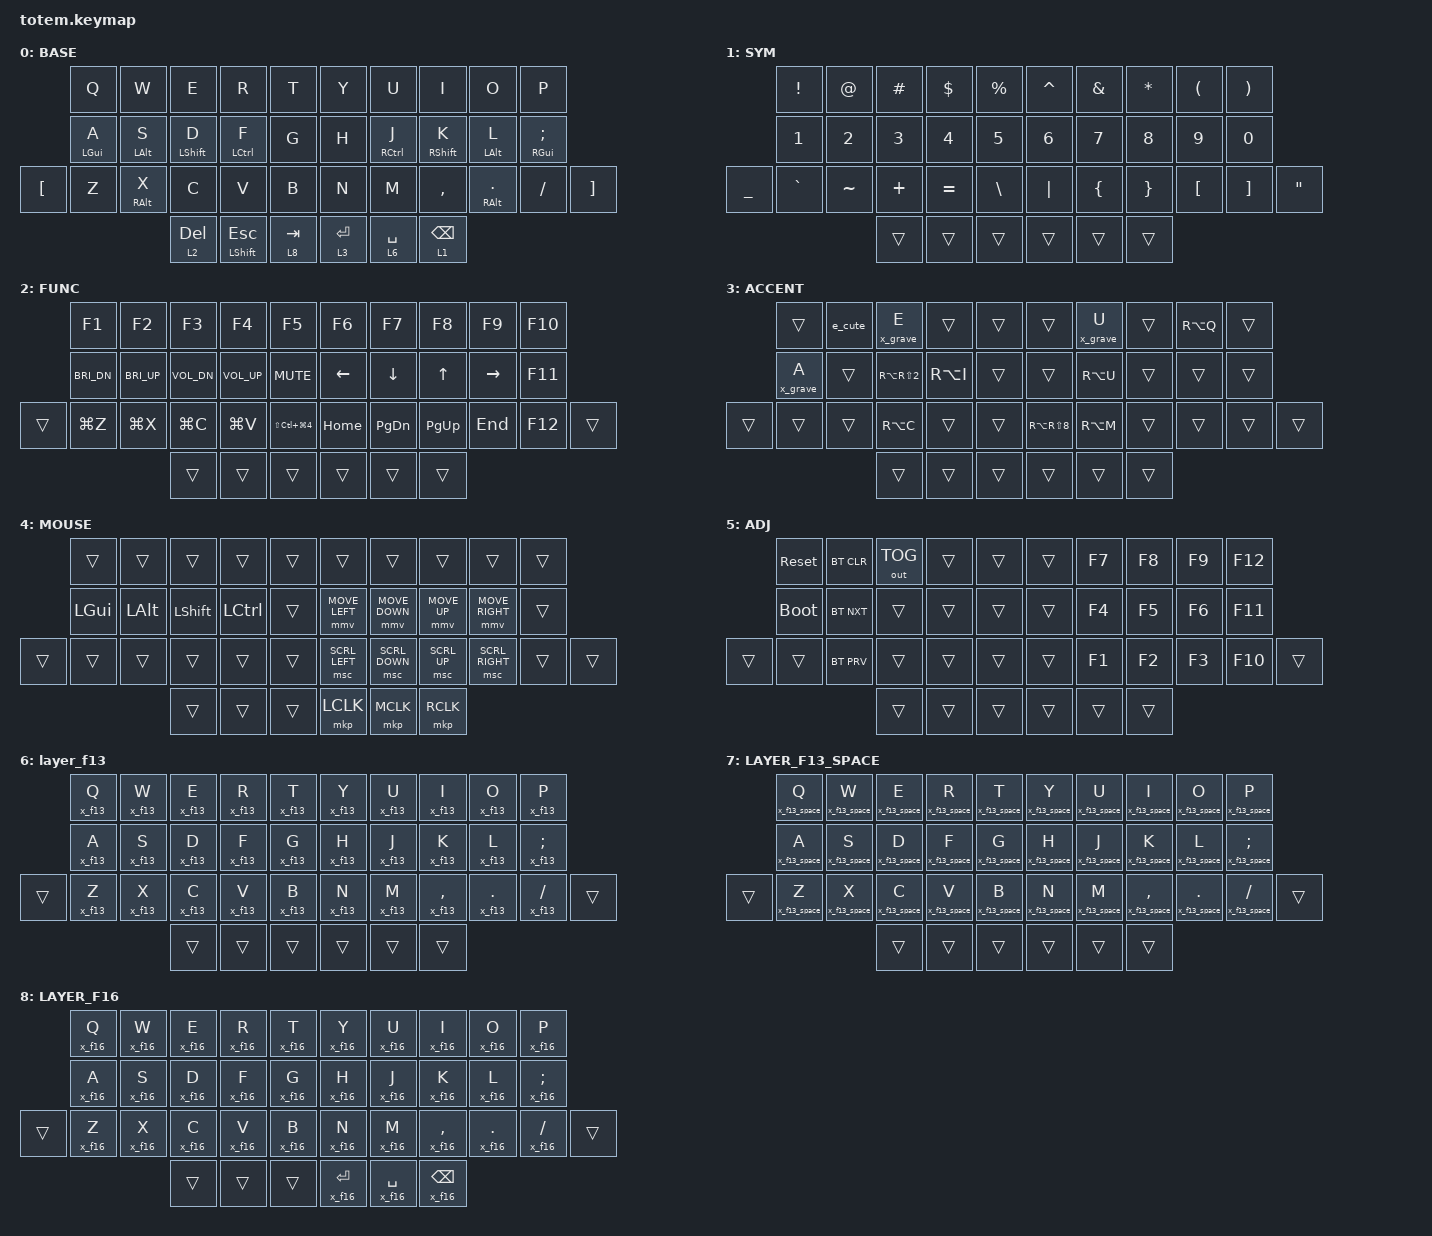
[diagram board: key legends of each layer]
//
//                                                        ▀▀▀▀▀     ▀▀▀▀▀          ▀▀█▀▀
//                                                        ▄▀▀▀▄  ▄  ▄▀▀▀▄  ▄  ▄▀▀▀▄  █  ▄▀▀▀▄
//                                                        █   █  █  █   █  █  █   █  █  █   █
//                                                         ▀▀▀   █   ▀▀▀   █   ▀▀▀   ▀   ▀▀▀
//                                                               █      ▄▄▄█▄▄▄    █   █  
//                                                               ▀      █  █  █     █▄█
//                                                             ▀▀▀▀▀    █  █  █      ▀
//                                                                      ▀  ▀  ▀
//
// ▄▄▄▄▄▄▄▄▄▄▄▄▄▄▄▄▄▄▄▄▄▄▄▄▄▄▄▄▄▄▄▄▄▄▄▄▄▄▄▄▄▄▄▄▄▄▄▄▄▄▄▄▄▄▄▄▄▄▄▄▄▄▄▄▄▄▄▄▄▄▄▄▄▄▄▄▄▄▄▄▄▄▄▄▄▄▄▄▄▄▄▄▄▄▄▄▄▄▄▄▄▄▄▄▄▄▄▄▄▄▄▄▄▄▄▄▄▄▄▄▄▄▄▄▄▄▄▄▄▄▄▄▄▄▄▄▄▄▄▄▄▄▄▄▄▄▄▄▄

#define ZMK_POINTING_DEFAULT_MOVE_VAL 1500  // default: 600
#define ZMK_POINTING_DEFAULT_SCRL_VAL 20    // default: 10

#include <behaviors.dtsi>
#include <dt-bindings/zmk/bt.h>
#include <dt-bindings/zmk/keys.h>
#include <dt-bindings/zmk/outputs.h>
#include <dt-bindings/zmk/pointing.h>

#define BASE    0
#define SYM     1
#define FUNC    2
#define ACCENT  3
#define MOUSE   4
#define ADJ     5

&mt {
    quick-tap-ms = <100>;
    global-quick-tap;
    flavor = "tap-preferred";
    tapping-term-ms = <250>;
};

/ {
    combos {
        compatible = "zmk,combos";

        combo_hyper_space {
            bindings = <&mo 7>;
            key-positions = <36 33>;
            timeout-ms = <100>;
        };

        combo_eqeq {
            bindings = <&eqeq>;
            key-positions = <23 24>;
        };

        combo_not_eq {
            bindings = <&not_eq>;
            key-positions = <27 28>;
        };

        combo_eqeqeq {
            bindings = <&eqeqeq>;
            key-positions = <22 23 24>;
            timeout-ms = <100>;
        };

        combo_sup_eq {
            bindings = <&sup_eq>;
            key-positions = <28 29>;
            timeout-ms = <100>;
        };

        combo_inf_eq {
            bindings = <&inf_eq>;
            key-positions = <22 23>;
            timeout-ms = <100>;
        };

        combo_not_eq_eq {
            bindings = <&not_eq_eq>;
            key-positions = <27 28 29>;
            timeout-ms = <100>;
        };

        combo_open_par {
            bindings = <&kp LPAR>;
            key-positions = <12 11 13>;
        };

        compo_close_par {
            bindings = <&kp RPAR>;
            key-positions = <17 18 16>;
        };

        combo_open_brace {
            bindings = <&kp LEFT_BRACKET>;
            key-positions = <13 12>;
        };

        combo_close_brace {
            bindings = <&kp RIGHT_BRACKET>;
            key-positions = <16 17>;
        };

        combo_open_bracket {
            bindings = <&kp LEFT_BRACE>;
            key-positions = <12 11>;
            timeout-ms = <100>;
        };

        combo_close_bracket {
            bindings = <&kp RIGHT_BRACE>;
            key-positions = <17 18>;
            timeout-ms = <100>;
        };

        combo_inf {
            bindings = <&kp LT>;
            key-positions = <13 14>;
        };

        combo_sup {
            bindings = <&kp GT>;
            key-positions = <15 16>;
        };

        combo_quote {
            bindings = <&kp SQT>;
            key-positions = <19 18>;
        };

        combo_minus {
            bindings = <&kp MINUS>;
            key-positions = <10 11>;
        };

        combo_andand {
            bindings = <&double_key AMPS>;
            key-positions = <6 7>;
        };

        combo_oror {
            bindings = <&double_key PIPE>;
            key-positions = <3 2>;
        };

        combo_pipe {
            bindings = <&kp PIPE>;
            key-positions = <27 16>;
            timeout-ms = <100>;
        };

        combo_eq_sup {
            bindings = <&eq_sup>;
            key-positions = <7 8>;
        };

        combo_func_js {
            bindings = <&funcjs>;
            key-positions = <6 7 8>;
        };

        combo_eq {
            bindings = <&kp EQUAL>;
            key-positions = <13 24>;
        };

        combo_antislash {
            bindings = <&kp BACKSLASH>;
            key-positions = <30 29>;
        };

        combo_f13 {
            bindings = <&kp F13>;
            key-positions = <13 16>;
        };
    };

    macros {
        x_grave: x_grave {
            compatible = "zmk,behavior-macro-one-param";
            #binding-cells = <1>;
            bindings =
                <&macro_press>,
                <&kp RALT>,
                <&macro_tap>,
                <&kp GRAVE>,
                <&macro_release>,
                <&kp RALT>,
                <&macro_tap>,
                <&macro_param_1to1 &kp MACRO_PLACEHOLDER>;

            label = "X_GRAVE";
        };

        double_key: double_key {
            compatible = "zmk,behavior-macro-one-param";
            #binding-cells = <1>;
            bindings =
                <&macro_tap>,
                <&macro_param_1to1 &kp MACRO_PLACEHOLDER &macro_param_1to1 &kp MACRO_PLACEHOLDER>;

            label = "DOUBLE_KEY";
        };

        e_cute: e_cute {
            compatible = "zmk,behavior-macro";
            #binding-cells = <0>;
            bindings =
                <&macro_press>,
                <&kp RALT>,
                <&macro_tap>,
                <&kp E>,
                <&macro_release>,
                <&kp RALT>,
                <&macro_tap>,
                <&kp E>;

            label = "E_CUTE";
        };

        hyper: hyper {
            compatible = "zmk,behavior-macro";
            #binding-cells = <0>;
            bindings =
                <&macro_press>,
                <&kp LSHFT &kp LALT &kp LCTRL &kp LGUI>,
                <&macro_pause_for_release>,
                <&macro_release>,
                <&kp LSHFT &kp LALT &kp LCTRL &kp LGUI>;

            label = "HYPER";
        };

        hyper_space: hyper_space {
            compatible = "zmk,behavior-macro";
            #binding-cells = <0>;
            bindings =
                <&macro_press>,
                <&kp LSHFT &kp LALT &kp LCTRL &kp LGUI>,
                <&macro_press>,
                <&kp SPACE>,
                <&macro_pause_for_release>,
                <&macro_release>,
                <&kp SPACE &kp LGUI &kp LCTRL &kp LALT &kp LSHFT>;

            label = "HYPER_SPACE";
        };

        eqeq: eqeq {
            compatible = "zmk,behavior-macro";
            #binding-cells = <0>;
            bindings = <&macro_tap>, <&kp EQUAL &kp EQUAL &kp SPACE>;

            label = "EQEQ";
        };

        eqeqeq: eqeqeq {
            compatible = "zmk,behavior-macro";
            #binding-cells = <0>;
            bindings = <&macro_tap>, <&kp EQUAL &kp EQUAL &kp EQUAL &kp SPACE>;

            label = "EQEQEQ";
        };

        eq_sup: eq_sup {
            compatible = "zmk,behavior-macro";
            #binding-cells = <0>;
            bindings = <&macro_tap>, <&kp EQUAL &kp GT &kp SPACE>;

            label = "EQ_SUP";
        };

        sup_eq: sup_eq {
            compatible = "zmk,behavior-macro";
            #binding-cells = <0>;
            bindings = <&macro_tap>, <&kp GT &kp EQUAL &kp SPACE>;

            label = "SUP_EQ";
        };

        inf_eq: inf_eq {
            compatible = "zmk,behavior-macro";
            #binding-cells = <0>;
            bindings = <&macro_tap>, <&kp LESS_THAN &kp EQUAL &kp SPACE>;

            label = "INF_EQ";
        };

        funcjs: funcjs {
            compatible = "zmk,behavior-macro";
            #binding-cells = <0>;
            bindings =
                <&macro_tap>,
                <&kp LPAR &kp RPAR &kp SPACE &kp EQUAL &kp GT &kp SPACE &kp LEFT_BRACE &kp RBRC>;

            label = "FUNCJS";
        };

        not_eq: noteq {
            compatible = "zmk,behavior-macro";
            #binding-cells = <0>;
            bindings = <&macro_tap>, <&kp EXCLAMATION &kp EQUAL &kp SPACE>;

            label = "NOTEQ";
        };

        not_eq_eq: not_eq_eq {
            compatible = "zmk,behavior-macro";
            #binding-cells = <0>;
            bindings =
                <&macro_tap>,
                <&kp EXCLAMATION &kp EQUAL &kp EQUAL &kp SPACE>;

            label = "NOT_EQ_EQ";
        };

        x_f13: x_f13 {
            compatible = "zmk,behavior-macro-one-param";
            #binding-cells = <1>;
            bindings =
                <&macro_tap>,
                <&kp F13>,
                <&macro_tap>,
                <&macro_param_1to1 &kp MACRO_PLACEHOLDER>;

            label = "X_F13";
        };

        x_f13_space: x_f13_space {
            compatible = "zmk,behavior-macro-one-param";
            #binding-cells = <1>;
            bindings =
                <&macro_tap>,
                <&kp F13 &kp HASH>,
                <&macro_tap>,
                <&macro_param_1to1 &kp MACRO_PLACEHOLDER>;

            label = "X_F13_SPACE";
        };

        x_f16: xf14 {
            compatible = "zmk,behavior-macro-one-param";
            #binding-cells = <1>;
            bindings =
                <&macro_tap>,
                <&kp F16>,
                <&macro_tap>,
                <&macro_param_1to1 &kp MACRO_PLACEHOLDER>;

            label = "XF14";
        };
    };

    keymap {
        compatible = "zmk,keymap";

        // ▄▄▄▄▄▄▄▄▄▄▄▄▄▄▄▄▄▄▄▄▄▄▄▄▄▄▄▄▄▄▄▄▄▄▄▄▄▄▄▄▄▄▄▄▄▄▄▄▄▄▄▄▄▄▄▄▄▄▄▄▄▄▄▄▄▄▄▄▄▄▄▄▄▄▄▄▄▄▄▄▄▄▄▄▄▄▄▄▄▄▄▄▄▄▄▄▄▄▄▄▄▄▄▄▄▄▄▄▄▄▄▄▄▄▄▄▄▄▄▄▄▄▄▄▄▄▄▄▄▄▄▄▄▄▄▄▄▄▄▄▄▄▄▄▄▄▄▄▄▄▄▄▄▄▄▄▄▄▄▄▄▄▄▄▄▄▄▄▄▄▄▄▄▄▄▄▄▄▄▄▄▄▄▄▄▄▄▄▄▄▄▄▄▄▄▄▄▄▄▄▄

        base_layer {
            // ┏━━━━━━━━━━━━━━━━━━━━━━━━━━━━━━━━━━━━━━━┓

            label = "BASE";

            // ┗━━━━━━━━━━━━━━━━━━━━━━━━━━━━━━━━━━━━━━━┛
            //                 ┏━━━━━━━━━━━━━━━┳━━━━━━━━━━━━━━━┳━━━━━━━━━━━━━━━┳━━━━━━━━━━━━━━━┳━━━━━━━━━━━━━━━┓   ┏━━━━━━━━━━━━━━━┳━━━━━━━━━━━━━━━┳━━━━━━━━━━━━━━━┳━━━━━━━━━━━━━━━┳━━━━━━━━━━━━━━━┓
            //                 ┃       Q       ┃       W       ┃       E       ┃       R       ┃       T       ┃   ┃       Y       ┃       U       ┃       I       ┃       O       ┃       P       ┃
            //                 ┣━━━━━━━━━━━━━━━╋━━━━━━━━━━━━━━━╋━━━━━━━━━━━━━━━╋━━━━━━━━━━━━━━━╋━━━━━━━━━━━━━━━┫   ┣━━━━━━━━━━━━━━━╋━━━━━━━━━━━━━━━╋━━━━━━━━━━━━━━━╋━━━━━━━━━━━━━━━╋━━━━━━━━━━━━━━━┫
            //                 ┃       A       ┃       S       ┃       D       ┃       F       ┃       G       ┃   ┃       H       ┃       J       ┃       K       ┃       L       ┃       ;       ┃
            // ┏━━━━━━━━━━━━━━━╋━━━━━━━━━━━━━━━╋━━━━━━━━━━━━━━━╋━━━━━━━━━━━━━━━╋━━━━━━━━━━━━━━━╋━━━━━━━━━━━━━━━┫   ┣━━━━━━━━━━━━━━━╋━━━━━━━━━━━━━━━╋━━━━━━━━━━━━━━━╋━━━━━━━━━━━━━━━╋━━━━━━━━━━━━━━━╋━━━━━━━━━━━━━━━┓
            // ┃       -       ┃       Z       ┃       X       ┃       C       ┃       V       ┃       B       ┃   ┃       K       ┃       M       ┃       ,       ┃       .       ┃       /       ┃       '       ┃
            // ┗━━━━━━━━━━━━━━━┻━━━━━━━━━━━━━━━┻━━━━━━━━━━━━━━━╋━━━━━━━━━━━━━━━╋━━━━━━━━━━━━━━━╋━━━━━━━━━━━━━━━┫   ┣━━━━━━━━━━━━━━━╋━━━━━━━━━━━━━━━╋━━━━━━━━━━━━━━━╋━━━━━━━━━━━━━━━┻━━━━━━━━━━━━━━━┻━━━━━━━━━━━━━━━┛
            //                                                 ┃      DEL      ┃      ESC      ┃      TAB      ┃   ┃     ENTER     ┃     SPACE     ┃     BSPC      ┃
            //                                                 ┗━━━━━━━━━━━━━━━┻━━━━━━━━━━━━━━━┻━━━━━━━━━━━━━━━┛   ┗━━━━━━━━━━━━━━━┻━━━━━━━━━━━━━━━┻━━━━━━━━━━━━━━━┛

            bindings = <
                  &kp Q       &kp W       &kp E        &kp R          &kp T        &kp Y        &kp U        &kp I            &kp O         &kp P
                  &mt LGUI A  &mt LALT S  &mt LSHFT D  &mt LCTRL F    &kp G        &kp H        &mt RCTRL J  &mt RSHFT K      &mt LALT L    &mt RGUI SEMI
&kp LEFT_BRACKET  &kp Z       &mt RALT X  &kp C        &kp V          &kp B        &kp N        &kp M        &kp COMMA        &mt RALT DOT  &kp FSLH       &kp RIGHT_BRACKET
                                          &lt 2 DEL    &mt LSHFT ESC  &lt 8 TAB    &lt 3 ENTER  &lt 6 SPACE  &lt 1 BACKSPACE
            >;
        };

        sym_layer {
            // ┏━━━━━━━━━━━━━━━━━━━━━━━━━━━━━━━━━━━━━━━┓

            label = "SYM";

            // ┗━━━━━━━━━━━━━━━━━━━━━━━━━━━━━━━━━━━━━━━┛
            //                 ┏━━━━━━━━━━━━━━━┳━━━━━━━━━━━━━━━┳━━━━━━━━━━━━━━━┳━━━━━━━━━━━━━━━┳━━━━━━━━━━━━━━━┓   ┏━━━━━━━━━━━━━━━┳━━━━━━━━━━━━━━━┳━━━━━━━━━━━━━━━┳━━━━━━━━━━━━━━━┳━━━━━━━━━━━━━━━┓
            //                 ┃       !       ┃       @       ┃       #       ┃       $       ┃       %       ┃   ┃       ^       ┃       &       ┃       *       ┃       (       ┃       )       ┃
            //                 ┣━━━━━━━━━━━━━━━╋━━━━━━━━━━━━━━━╋━━━━━━━━━━━━━━━╋━━━━━━━━━━━━━━━╋━━━━━━━━━━━━━━━┫   ┣━━━━━━━━━━━━━━━╋━━━━━━━━━━━━━━━╋━━━━━━━━━━━━━━━╋━━━━━━━━━━━━━━━╋━━━━━━━━━━━━━━━┫
            //                 ┃       1       ┃       2       ┃       3       ┃       4       ┃       5       ┃   ┃       6       ┃       7       ┃       8       ┃       9       ┃       0       ┃
            // ┏━━━━━━━━━━━━━━━╋━━━━━━━━━━━━━━━╋━━━━━━━━━━━━━━━╋━━━━━━━━━━━━━━━╋━━━━━━━━━━━━━━━╋━━━━━━━━━━━━━━━┫   ┣━━━━━━━━━━━━━━━╋━━━━━━━━━━━━━━━╋━━━━━━━━━━━━━━━╋━━━━━━━━━━━━━━━╋━━━━━━━━━━━━━━━╋━━━━━━━━━━━━━━━┓
            // ┃       {       ┃       `       ┃       ~       ┃       +       ┃       =       ┃       \       ┃   ┃       |       ┃       {       ┃       }       ┃       [       ┃       ]       ┃       }       ┃
            // ┗━━━━━━━━━━━━━━━┻━━━━━━━━━━━━━━━┻━━━━━━━━━━━━━━━╋━━━━━━━━━━━━━━━╋━━━━━━━━━━━━━━━╋━━━━━━━━━━━━━━━┫   ┣━━━━━━━━━━━━━━━╋━━━━━━━━━━━━━━━╋━━━━━━━━━━━━━━━╋━━━━━━━━━━━━━━━┻━━━━━━━━━━━━━━━┻━━━━━━━━━━━━━━━┛
            //                                                 ┃               ┃               ┃               ┃   ┃               ┃               ┃               ┃
            //                                                 ┗━━━━━━━━━━━━━━━┻━━━━━━━━━━━━━━━┻━━━━━━━━━━━━━━━┛   ┗━━━━━━━━━━━━━━━┻━━━━━━━━━━━━━━━┻━━━━━━━━━━━━━━━┛

            bindings = <
                &kp EXCL   &kp AT     &kp HASH  &kp DOLLAR  &kp PERCENT    &kp CARET  &kp AMPS  &kp ASTRK  &kp LPAR  &kp RPAR
                &kp N1     &kp N2     &kp N3    &kp N4      &kp N5         &kp N6     &kp N7    &kp N8     &kp N9    &kp N0
&kp UNDERSCORE  &kp GRAVE  &kp TILDE  &kp PLUS  &kp EQUAL   &kp BSLH       &kp PIPE   &kp LBRC  &kp RBRC   &kp LBKT  &kp RBKT  &kp DQT
                                      &trans    &trans      &trans         &trans     &trans    &trans
            >;
        };

        func_layer {
            // ┏━━━━━━━━━━━━━━━━━━━━━━━━━━━━━━━━━━━━━━━┓

            label = "FUNC";

            // ┗━━━━━━━━━━━━━━━━━━━━━━━━━━━━━━━━━━━━━━━┛
            //                 ┏━━━━━━━━━━━━━━━┳━━━━━━━━━━━━━━━┳━━━━━━━━━━━━━━━┳━━━━━━━━━━━━━━━┳━━━━━━━━━━━━━━━┓   ┏━━━━━━━━━━━━━━━┳━━━━━━━━━━━━━━━┳━━━━━━━━━━━━━━━┳━━━━━━━━━━━━━━━┳━━━━━━━━━━━━━━━┓
            //                 ┃       F1      ┃       F2      ┃       F3      ┃       F4      ┃       F5      ┃   ┃       F6      ┃       F7      ┃       F8      ┃       F9      ┃      F10      ┃
            //                 ┣━━━━━━━━━━━━━━━╋━━━━━━━━━━━━━━━╋━━━━━━━━━━━━━━━╋━━━━━━━━━━━━━━━╋━━━━━━━━━━━━━━━┫   ┣━━━━━━━━━━━━━━━╋━━━━━━━━━━━━━━━╋━━━━━━━━━━━━━━━╋━━━━━━━━━━━━━━━╋━━━━━━━━━━━━━━━┫
            //                 ┃  BRIGHTNESS - ┃ BRIGHTNESS +  ┃     VOL -     ┃     VOL +     ┃      MUTE     ┃   ┃     LEFT      ┃      DOWN     ┃       UP      ┃     RIGHT     ┃      F11      ┃
            // ┏━━━━━━━━━━━━━━━╋━━━━━━━━━━━━━━━╋━━━━━━━━━━━━━━━╋━━━━━━━━━━━━━━━╋━━━━━━━━━━━━━━━╋━━━━━━━━━━━━━━━┫   ┣━━━━━━━━━━━━━━━╋━━━━━━━━━━━━━━━╋━━━━━━━━━━━━━━━╋━━━━━━━━━━━━━━━╋━━━━━━━━━━━━━━━╋━━━━━━━━━━━━━━━┓
            // ┃               ┃      UNDO     ┃      CUT      ┃      COPY     ┃     PASTE     ┃      INS      ┃   ┃     HOME      ┃   PAGE DOWN   ┃     PAGE UP   ┃      END      ┃      F12      ┃               ┃
            // ┗━━━━━━━━━━━━━━━┻━━━━━━━━━━━━━━━┻━━━━━━━━━━━━━━━╋━━━━━━━━━━━━━━━╋━━━━━━━━━━━━━━━╋━━━━━━━━━━━━━━━┫   ┣━━━━━━━━━━━━━━━╋━━━━━━━━━━━━━━━╋━━━━━━━━━━━━━━━╋━━━━━━━━━━━━━━━┻━━━━━━━━━━━━━━━┻━━━━━━━━━━━━━━━┛
            //                                                 ┃               ┃               ┃               ┃   ┃               ┃               ┃               ┃
            //                                                 ┗━━━━━━━━━━━━━━━┻━━━━━━━━━━━━━━━┻━━━━━━━━━━━━━━━┛   ┗━━━━━━━━━━━━━━━┻━━━━━━━━━━━━━━━┻━━━━━━━━━━━━━━━┛

            bindings = <
        &kp F1        &kp F2        &kp F3        &kp F4        &kp F5                      &kp F6    &kp F7         &kp F8       &kp F9     &kp F10
        &kp C_BRI_DN  &kp C_BRI_UP  &kp C_VOL_DN  &kp C_VOL_UP  &kp K_MUTE                  &kp LEFT  &kp DOWN       &kp UP       &kp RIGHT  &kp F11
&trans  &kp LG(Z)     &kp LG(X)     &kp LG(C)     &kp LG(V)     &kp LS(LC(LG(NUMBER_4)))    &kp HOME  &kp PAGE_DOWN  &kp PAGE_UP  &kp END    &kp F12  &trans
                                    &trans        &trans        &trans                      &trans    &trans         &trans
            >;
        };

        accent_layer {
            // ┏━━━━━━━━━━━━━━━━━━━━━━━━━━━━━━━━━━━━━━━┓

            label = "ACCENT";

            // ┗━━━━━━━━━━━━━━━━━━━━━━━━━━━━━━━━━━━━━━━┛
            //                 ┏━━━━━━━━━━━━━━━┳━━━━━━━━━━━━━━━┳━━━━━━━━━━━━━━━┳━━━━━━━━━━━━━━━┳━━━━━━━━━━━━━━━┓   ┏━━━━━━━━━━━━━━━┳━━━━━━━━━━━━━━━┳━━━━━━━━━━━━━━━┳━━━━━━━━━━━━━━━┳━━━━━━━━━━━━━━━┓
            //                 ┃               ┃       é       ┃       è       ┃               ┃               ┃   ┃               ┃       ù       ┃               ┃       œ       ┃               ┃
            //                 ┣━━━━━━━━━━━━━━━╋━━━━━━━━━━━━━━━╋━━━━━━━━━━━━━━━╋━━━━━━━━━━━━━━━╋━━━━━━━━━━━━━━━┫   ┣━━━━━━━━━━━━━━━╋━━━━━━━━━━━━━━━╋━━━━━━━━━━━━━━━╋━━━━━━━━━━━━━━━╋━━━━━━━━━━━━━━━┫
            //                 ┃        à      ┃               ┃       €       ┃       ˆ       ┃               ┃   ┃               ┃       ¨       ┃               ┃               ┃               ┃
            // ┏━━━━━━━━━━━━━━━╋━━━━━━━━━━━━━━━╋━━━━━━━━━━━━━━━╋━━━━━━━━━━━━━━━╋━━━━━━━━━━━━━━━╋━━━━━━━━━━━━━━━┫   ┣━━━━━━━━━━━━━━━╋━━━━━━━━━━━━━━━╋━━━━━━━━━━━━━━━╋━━━━━━━━━━━━━━━╋━━━━━━━━━━━━━━━╋━━━━━━━━━━━━━━━┓
            // ┃               ┃               ┃               ┃       ç       ┃               ┃               ┃   ┃       °       ┃       µ       ┃               ┃               ┃               ┃               ┃
            // ┗━━━━━━━━━━━━━━━┻━━━━━━━━━━━━━━━┻━━━━━━━━━━━━━━━╋━━━━━━━━━━━━━━━╋━━━━━━━━━━━━━━━╋━━━━━━━━━━━━━━━┫   ┣━━━━━━━━━━━━━━━╋━━━━━━━━━━━━━━━╋━━━━━━━━━━━━━━━╋━━━━━━━━━━━━━━━┻━━━━━━━━━━━━━━━┻━━━━━━━━━━━━━━━┛
            //                                                 ┃               ┃               ┃               ┃   ┃               ┃               ┃               ┃
            //                                                 ┗━━━━━━━━━━━━━━━┻━━━━━━━━━━━━━━━┻━━━━━━━━━━━━━━━┛   ┗━━━━━━━━━━━━━━━┻━━━━━━━━━━━━━━━┻━━━━━━━━━━━━━━━┛

            bindings = <
        &trans      &e_cute  &x_grave E            &trans     &trans    &trans          &x_grave U  &trans  &kp RA(Q)  &trans
        &x_grave A  &trans   &kp RA(RS(NUMBER_2))  &kp RA(I)  &trans    &trans          &kp RA(U)   &trans  &trans     &trans
&trans  &trans      &trans   &kp RA(C)             &trans     &trans    &kp RA(RS(N8))  &kp RA(M)   &trans  &trans     &trans  &trans
                             &trans                &trans     &trans    &trans          &trans      &trans
            >;
        };

        mouse_layer {
            // ┏━━━━━━━━━━━━━━━━━━━━━━━━━━━━━━━━━━━━━━━┓

            label = "MOUSE";

            // ┗━━━━━━━━━━━━━━━━━━━━━━━━━━━━━━━━━━━━━━━┛
            //                 ┏━━━━━━━━━━━━━━━┳━━━━━━━━━━━━━━━┳━━━━━━━━━━━━━━━┳━━━━━━━━━━━━━━━┳━━━━━━━━━━━━━━━┓   ┏━━━━━━━━━━━━━━━┳━━━━━━━━━━━━━━━┳━━━━━━━━━━━━━━━┳━━━━━━━━━━━━━━━┳━━━━━━━━━━━━━━━┓
            //                 ┃               ┃               ┃               ┃               ┃               ┃   ┃               ┃               ┃               ┃               ┃               ┃
            //                 ┣━━━━━━━━━━━━━━━╋━━━━━━━━━━━━━━━╋━━━━━━━━━━━━━━━╋━━━━━━━━━━━━━━━╋━━━━━━━━━━━━━━━┫   ┣━━━━━━━━━━━━━━━╋━━━━━━━━━━━━━━━╋━━━━━━━━━━━━━━━╋━━━━━━━━━━━━━━━╋━━━━━━━━━━━━━━━┫
            //                 ┃     LGUI      ┃    LALT       ┃    LSHIFT     ┃    LCTL       ┃               ┃   ┃  MOVE LEFT    ┃  MOVE DOWN    ┃   MOVE UP     ┃  MOVE RIGHT   ┃               ┃
            // ┏━━━━━━━━━━━━━━━╋━━━━━━━━━━━━━━━╋━━━━━━━━━━━━━━━╋━━━━━━━━━━━━━━━╋━━━━━━━━━━━━━━━╋━━━━━━━━━━━━━━━┫   ┣━━━━━━━━━━━━━━━╋━━━━━━━━━━━━━━━╋━━━━━━━━━━━━━━━╋━━━━━━━━━━━━━━━╋━━━━━━━━━━━━━━━╋━━━━━━━━━━━━━━━┓
            // ┃               ┃               ┃               ┃               ┃               ┃               ┃   ┃ SCROLL LEFT   ┃ SCROLL DOWN   ┃ SCROLL UP     ┃ SCROLL RIGHT  ┃               ┃               ┃
            // ┗━━━━━━━━━━━━━━━┻━━━━━━━━━━━━━━━┻━━━━━━━━━━━━━━━╋━━━━━━━━━━━━━━━╋━━━━━━━━━━━━━━━╋━━━━━━━━━━━━━━━┫   ┣━━━━━━━━━━━━━━━╋━━━━━━━━━━━━━━━╋━━━━━━━━━━━━━━━╋━━━━━━━━━━━━━━━┻━━━━━━━━━━━━━━━┻━━━━━━━━━━━━━━━┛
            //                                                 ┃               ┃               ┃               ┃   ┃     CLICK     ┃  MIDDLE CLICK ┃  RIGHT CLICK  ┃
            //                                                 ┗━━━━━━━━━━━━━━━┻━━━━━━━━━━━━━━━┻━━━━━━━━━━━━━━━┛   ┗━━━━━━━━━━━━━━━┻━━━━━━━━━━━━━━━┻━━━━━━━━━━━━━━━┛

            bindings = <
        &trans    &trans    &trans     &trans     &trans    &trans          &trans          &trans        &trans           &trans
        &kp LGUI  &kp LALT  &kp LSHFT  &kp LCTRL  &trans    &mmv MOVE_LEFT  &mmv MOVE_DOWN  &mmv MOVE_UP  &mmv MOVE_RIGHT  &trans
&trans  &trans    &trans    &trans     &trans     &trans    &msc SCRL_LEFT  &msc SCRL_DOWN  &msc SCRL_UP  &msc SCRL_RIGHT  &trans  &trans
                            &trans     &trans     &trans    &mkp LCLK       &mkp MCLK       &mkp RCLK
            >;
        };

        adjust_layer {
            // ┏━━━━━━━━━━━━━━━━━━━━━━━━━━━━━━━━━━━━━━━┓

            label = "ADJ";

            // ┗━━━━━━━━━━━━━━━━━━━━━━━━━━━━━━━━━━━━━━━┛
            //             ┏━━━━━━━━━━━┳━━━━━━━━━━━┳━━━━━━━━━━━┳━━━━━━━━━━━┳━━━━━━━━━━━┓   ┏━━━━━━━━━━━┳━━━━━━━━━━━┳━━━━━━━━━━━┳━━━━━━━━━━━┳━━━━━━━━━━━┓
            //             ┃   RESET   ┃ BT CLEAR  ┃  OUT TOG  ┃           ┃           ┃   ┃           ┃    F7     ┃    F8     ┃    F9     ┃    F12    ┃
            //             ┣━━━━━━━━━━━╋━━━━━━━━━━━╋━━━━━━━━━━━╋━━━━━━━━━━━╋━━━━━━━━━━━┫   ┣━━━━━━━━━━━╋━━━━━━━━━━━╋━━━━━━━━━━━╋━━━━━━━━━━━╋━━━━━━━━━━━┫
            //             ┃ BOOTLOAD  ┃ BT NEXT   ┃           ┃           ┃           ┃   ┃           ┃    F4     ┃    F5     ┃    F6     ┃    F11    ┃
            // ┏━━━━━━━━━━━╋━━━━━━━━━━━╋━━━━━━━━━━━╋━━━━━━━━━━━╋━━━━━━━━━━━╋━━━━━━━━━━━┫   ┣━━━━━━━━━━━╋━━━━━━━━━━━╋━━━━━━━━━━━╋━━━━━━━━━━━╋━━━━━━━━━━━╋━━━━━━━━━━━┓
            // ┃           ┃           ┃ BT PREV   ┃           ┃           ┃           ┃   ┃           ┃    F1     ┃    F2     ┃    F3     ┃    F10    ┃           ┃
            // ┗━━━━━━━━━━━┻━━━━━━━━━━━┻━━━━━━━━━━━╋━━━━━━━━━━━╋━━━━━━━━━━━╋━━━━━━━━━━━┫   ┣━━━━━━━━━━━╋━━━━━━━━━━━╋━━━━━━━━━━━╋━━━━━━━━━━━┻━━━━━━━━━━━┻━━━━━━━━━━━┛
            //                                     ┃           ┃           ┃           ┃   ┃           ┃           ┃           ┃
            //                                     ┗━━━━━━━━━━━┻━━━━━━━━━━━┻━━━━━━━━━━━┛   ┗━━━━━━━━━━━┻━━━━━━━━━━━┻━━━━━━━━━━━┛

            bindings = <
        &sys_reset   &bt BT_CLR  &out OUT_TOG  &trans  &trans    &trans  &kp F7  &kp F8  &kp F9  &kp F12
        &bootloader  &bt BT_NXT  &trans        &trans  &trans    &trans  &kp F4  &kp F5  &kp F6  &kp F11
&trans  &trans       &bt BT_PRV  &trans        &trans  &trans    &trans  &kp F1  &kp F2  &kp F3  &kp F10  &trans
                                 &trans        &trans  &trans    &trans  &trans  &trans
            >;
        };

        layer_f13 {
            bindings = <
        &x_f13 Q  &x_f13 W  &x_f13 E  &x_f13 R  &x_f13 T    &x_f13 Y  &x_f13 U  &x_f13 I      &x_f13 O    &x_f13 P
        &x_f13 A  &x_f13 S  &x_f13 D  &x_f13 F  &x_f13 G    &x_f13 H  &x_f13 J  &x_f13 K      &x_f13 L    &x_f13 SEMI
&trans  &x_f13 Z  &x_f13 X  &x_f13 C  &x_f13 V  &x_f13 B    &x_f13 N  &x_f13 M  &x_f13 COMMA  &x_f13 DOT  &x_f13 FSLH  &trans
                            &trans    &trans    &trans      &trans    &trans    &trans
            >;
        };

        LAYER_F13_SPACE {
            bindings = <
        &x_f13_space Q  &x_f13_space W  &x_f13_space E  &x_f13_space R  &x_f13_space T    &x_f13_space Y  &x_f13_space U  &x_f13_space I      &x_f13_space O    &x_f13_space P
        &x_f13_space A  &x_f13_space S  &x_f13_space D  &x_f13_space F  &x_f13_space G    &x_f13_space H  &x_f13_space J  &x_f13_space K      &x_f13_space L    &x_f13_space SEMI
&trans  &x_f13_space Z  &x_f13_space X  &x_f13_space C  &x_f13_space V  &x_f13_space B    &x_f13_space N  &x_f13_space M  &x_f13_space COMMA  &x_f13_space DOT  &x_f13_space FSLH  &trans
                                        &trans          &trans          &trans            &trans          &trans          &trans
            >;
        };

        LAYER_F16 {
            bindings = <
        &x_f16 Q  &x_f16 W  &x_f16 E  &x_f16 R  &x_f16 T    &x_f16 Y    &x_f16 U      &x_f16 I      &x_f16 O    &x_f16 P
        &x_f16 A  &x_f16 S  &x_f16 D  &x_f16 F  &x_f16 G    &x_f16 H    &x_f16 J      &x_f16 K      &x_f16 L    &x_f16 SEMI
&trans  &x_f16 Z  &x_f16 X  &x_f16 C  &x_f16 V  &x_f16 B    &x_f16 N    &x_f16 M      &x_f16 COMMA  &x_f16 DOT  &x_f16 FSLH  &trans
                            &trans    &trans    &trans      &x_f16 RET  &x_f16 SPACE  &x_f16 BSPC
            >;
        };
    };

    conditional_layers {
        compatible = "zmk,conditional-layers";

        adjust {
            if-layers = <1 2>;
            then-layer = <5>;
        };
    };
};
